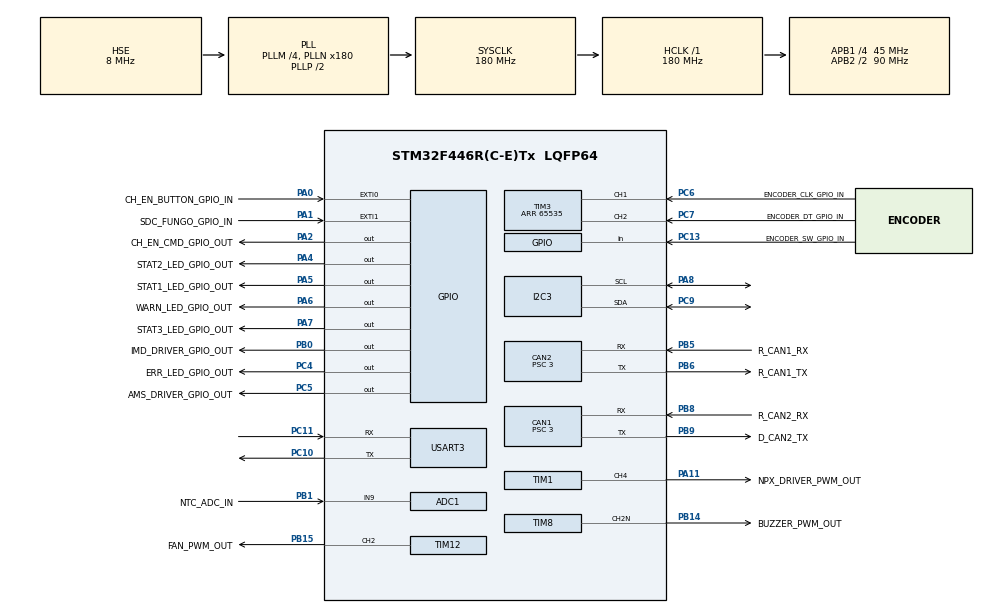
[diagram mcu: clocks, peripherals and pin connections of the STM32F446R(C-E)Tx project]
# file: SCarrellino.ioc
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ADC1.Channel-0\#ChannelRegularConversion=ADC_CHANNEL_9
ADC1.DMAContinuousRequests=ENABLE
ADC1.EnableAnalogWatchDog=false
ADC1.ExternalTrigConv=ADC_EXTERNALTRIGCONV_T4_CC4
ADC1.NbrOfConversion=1
ADC1.NbrOfConversionFlag=1
ADC1.Rank-0\#ChannelRegularConversion=1
ADC1.SamplingTime-0\#ChannelRegularConversion=ADC_SAMPLETIME_3CYCLES
ADC1.master=1
CAN1.ABOM=ENABLE
CAN1.AWUM=ENABLE
CAN1.BS1=CAN_BS1_12TQ
CAN1.BS2=CAN_BS2_2TQ
CAN1.CalculateBaudRate=1000000
CAN1.CalculateTimeBit=1000
CAN1.CalculateTimeQuantum=66.66666666666666
CAN1.Mode=CAN_MODE_NORMAL
CAN1.NART=DISABLE
CAN1.Prescaler=3
CAN2.ABOM=ENABLE
CAN2.AWUM=ENABLE
CAN2.BS1=CAN_BS1_12TQ
CAN2.BS2=CAN_BS2_2TQ
CAN2.CalculateBaudRate=1000000
CAN2.CalculateTimeBit=1000
CAN2.CalculateTimeQuantum=66.66666666666666
CAN2.Mode=CAN_MODE_NORMAL
CAN2.NART=DISABLE
CAN2.Prescaler=3
Dma.ADC1.0.Direction=DMA_PERIPH_TO_MEMORY
Dma.ADC1.0.FIFOMode=DMA_FIFOMODE_DISABLE
Dma.ADC1.0.Instance=DMA2_Stream0
Dma.ADC1.0.MemDataAlignment=DMA_MDATAALIGN_HALFWORD
Dma.ADC1.0.MemInc=DMA_MINC_ENABLE
Dma.ADC1.0.Mode=DMA_CIRCULAR
Dma.ADC1.0.PeriphDataAlignment=DMA_PDATAALIGN_HALFWORD
Dma.ADC1.0.PeriphInc=DMA_PINC_DISABLE
Dma.ADC1.0.Priority=DMA_PRIORITY_LOW
Dma.Request0=ADC1
I2C3.I2C_Mode=I2C_Standard
Mcu.Family=STM32F4
Mcu.Name=STM32F446R(C-E)Tx
Mcu.Package=LQFP64
Mcu.UserConstants=adc_timer_value,500
NVIC.ADC_IRQn=true\:3\:0\:true\:false\:true\:true\:true\:true
NVIC.CAN1_RX0_IRQn=true\:1\:0\:true\:false\:true\:true\:true\:true
NVIC.CAN1_RX1_IRQn=true\:1\:0\:true\:false\:true\:true\:true\:true
NVIC.CAN1_SCE_IRQn=true\:1\:0\:true\:false\:true\:true\:true\:true
NVIC.CAN2_RX0_IRQn=true\:1\:0\:true\:false\:true\:true\:true\:true
NVIC.CAN2_RX1_IRQn=true\:1\:0\:true\:false\:true\:true\:true\:true
NVIC.CAN2_SCE_IRQn=true\:1\:0\:true\:false\:true\:true\:true\:true
NVIC.DMA2_Stream0_IRQn=true\:0\:0\:false\:false\:true\:false\:true\:true
NVIC.EXTI0_IRQn=true\:0\:0\:false\:false\:true\:true\:true\:true
NVIC.EXTI1_IRQn=true\:0\:0\:false\:false\:true\:true\:true\:true
NVIC.I2C3_ER_IRQn=true\:1\:0\:true\:false\:true\:true\:true\:true
NVIC.PriorityGroup=NVIC_PRIORITYGROUP_4
NVIC.TIM1_BRK_TIM9_IRQn=true\:3\:0\:true\:false\:true\:true\:true\:true
NVIC.TIM1_UP_TIM10_IRQn=true\:3\:0\:true\:false\:true\:true\:true\:true
NVIC.TIM2_IRQn=true\:0\:0\:false\:false\:true\:true\:true\:true
NVIC.TIM3_IRQn=true\:2\:0\:true\:false\:true\:true\:true\:true
NVIC.TIM4_IRQn=true\:0\:0\:false\:false\:true\:true\:true\:true
NVIC.TIM6_DAC_IRQn=true\:2\:0\:true\:false\:true\:true\:true\:true
NVIC.TIM7_IRQn=true\:0\:0\:false\:false\:true\:true\:true\:true
NVIC.TIM8_BRK_TIM12_IRQn=true\:0\:0\:false\:false\:true\:true\:true\:true
NVIC.TIM8_CC_IRQn=true\:0\:0\:false\:false\:true\:true\:true\:true
NVIC.TIM8_TRG_COM_TIM14_IRQn=true\:0\:0\:false\:false\:true\:true\:true\:true
NVIC.TIM8_UP_TIM13_IRQn=true\:0\:0\:false\:false\:true\:true\:true\:true
PA0-WKUP.GPIO_Label=CH_EN_BUTTON_GPIO_IN
PA0-WKUP.GPIO_ModeDefaultEXTI=GPIO_MODE_IT_RISING_FALLING
PA0-WKUP.Signal=GPXTI0
PA1.GPIO_Label=SDC_FUNGO_GPIO_IN
PA1.GPIO_ModeDefaultEXTI=GPIO_MODE_IT_FALLING
PA1.Signal=GPXTI1
PA11.GPIO_Label=NPX_DRIVER_PWM_OUT
PA11.Signal=S_TIM1_CH4
PA13.Mode=JTAG_4_pins
PA13.Signal=SYS_JTMS-SWDIO
PA14.Mode=JTAG_4_pins
PA14.Signal=SYS_JTCK-SWCLK
PA15.Mode=JTAG_4_pins
PA15.Signal=SYS_JTDI
PA2.GPIO_Label=CH_EN_CMD_GPIO_OUT
PA2.PinState=GPIO_PIN_SET
PA2.Signal=GPIO_Output
PA4.GPIO_Label=STAT2_LED_GPIO_OUT
PA4.Signal=GPIO_Output
PA5.GPIO_Label=STAT1_LED_GPIO_OUT
PA5.Signal=GPIO_Output
PA6.GPIO_Label=WARN_LED_GPIO_OUT
PA6.Signal=GPIO_Output
PA7.GPIO_Label=STAT3_LED_GPIO_OUT
PA7.Signal=GPIO_Output
PA8.Mode=I2C
PA8.Signal=I2C3_SCL
PB0.GPIO_Label=IMD_DRIVER_GPIO_OUT
PB0.Signal=GPIO_Output
PB1.GPIO_Label=NTC_ADC_IN
PB1.Signal=ADCx_IN9
PB14.GPIO_Label=BUZZER_PWM_OUT
PB14.Mode=PWM Generation2 CH2N
PB14.Signal=TIM8_CH2N
PB15.GPIO_Label=FAN_PWM_OUT
PB15.Signal=S_TIM12_CH2
PB3.Mode=JTAG_4_pins
PB3.Signal=SYS_JTDO-SWO
PB5.GPIO_Label=R_CAN1_RX
PB5.GPIO_PuPd=GPIO_PULLUP
PB5.Mode=CAN_Activate
PB5.Signal=CAN2_RX
PB6.GPIO_Label=R_CAN1_TX
PB6.Mode=CAN_Activate
PB6.Signal=CAN2_TX
PB8.GPIO_Label=R_CAN2_RX
PB8.GPIO_PuPd=GPIO_PULLUP
PB8.Mode=CAN_Activate
PB8.Signal=CAN1_RX
PB9.GPIO_Label=D_CAN2_TX
PB9.GPIO_PuPd=GPIO_NOPULL
PB9.Mode=CAN_Activate
PB9.Signal=CAN1_TX
PC10.Mode=Asynchronous
PC10.Signal=USART3_TX
PC11.Mode=Asynchronous
PC11.Signal=USART3_RX
PC13.GPIO_Label=ENCODER_SW_GPIO_IN
PC13.Signal=GPIO_Input
PC4.GPIO_Label=ERR_LED_GPIO_OUT
PC4.Signal=GPIO_Output
PC5.GPIO_Label=AMS_DRIVER_GPIO_OUT
PC5.Signal=GPIO_Output
PC6.GPIO_Label=ENCODER_CLK_GPIO_IN
PC6.Signal=S_TIM3_CH1
PC7.GPIO_Label=ENCODER_DT_GPIO_IN
PC7.Signal=S_TIM3_CH2
PC9.Mode=I2C
PC9.Signal=I2C3_SDA
PH0-OSC_IN.Mode=HSE-External-Oscillator
PH0-OSC_IN.Signal=RCC_OSC_IN
PH1-OSC_OUT.Mode=HSE-External-Oscillator
PH1-OSC_OUT.Signal=RCC_OSC_OUT
ProjectManager.HeapSize=0x200
ProjectManager.StackSize=0x400
ProjectManager.TargetToolchain=Makefile
RCC.AHBFreq_Value=180000000
RCC.APB1CLKDivider=RCC_HCLK_DIV4
RCC.APB1Freq_Value=45000000
RCC.APB1TimFreq_Value=90000000
RCC.APB2CLKDivider=RCC_HCLK_DIV2
RCC.APB2Freq_Value=90000000
RCC.APB2TimFreq_Value=180000000
RCC.CortexFreq_Value=180000000
RCC.HCLKFreq_Value=180000000
RCC.HSE_VALUE=8000000
RCC.PLLM=4
RCC.PLLN=180
RCC.PLLSourceVirtual=RCC_PLLSOURCE_HSE
RCC.SYSCLKFreq_VALUE=180000000
RCC.SYSCLKSource=RCC_SYSCLKSOURCE_PLLCLK
RCC.USBFreq_Value=180000000
RCC.VCOOutputFreq_Value=360000000
SH.ADCx_IN9.0=ADC1_IN9,IN9
SH.S_TIM12_CH2.0=TIM12_CH2,PWM Generation2 CH2
SH.S_TIM1_CH4.0=TIM1_CH4,PWM Generation4 CH4
SH.S_TIM3_CH1.0=TIM3_CH1,Encoder_Interface
SH.S_TIM3_CH2.0=TIM3_CH2,Encoder_Interface
TIM1.Channel-PWM\ Generation4\ CH4=TIM_CHANNEL_4
TIM12.Channel-PWM\ Generation2\ CH2=TIM_CHANNEL_2
TIM12.ClockDivision=TIM_CLOCKDIVISION_DIV1
TIM12.OC2Preload_PWM=DISABLE
TIM12.Prescaler=0
TIM12.Pulse-PWM\ Generation2\ CH2=0
TIM2.Channel-Output\ Compare3\ No\ Output=TIM_CHANNEL_3
TIM2.ClockDivision=TIM_CLOCKDIVISION_DIV4
TIM2.OCMode_3=TIM_OCMODE_TOGGLE
TIM2.Period=65535
TIM2.Prescaler=18000
TIM2.Pulse-Output\ Compare3\ No\ Output=2
TIM2.TIM_MasterOutputTrigger=TIM_TRGO_OC3REF
TIM3.EncoderMode=TIM_ENCODERMODE_TI12
TIM3.IC1Polarity=TIM_ICPOLARITY_FALLING
TIM3.IC2Polarity=TIM_ICPOLARITY_FALLING
TIM3.Period=65535
TIM4.AutoReloadPreload=TIM_AUTORELOAD_PRELOAD_DISABLE
TIM4.Channel-Output\ Compare4\ No\ Output=TIM_CHANNEL_4
TIM4.OC4Preload=DISABLE
TIM4.OCMode_4=TIM_OCMODE_TOGGLE
TIM4.Period=65535
TIM4.Prescaler=17999
TIM4.Pulse=adc_timer_value
TIM4.Pulse-Output\ Compare4\ No\ Output=adc_timer_value
TIM4.TIM_MasterOutputTrigger=TIM_TRGO_OC4REF
TIM4.TIM_MasterSlaveMode=TIM_MASTERSLAVEMODE_DISABLE
TIM6.Period=100
TIM6.Prescaler=9000-1
TIM6.TIM_MasterOutputTrigger=TIM_TRGO_UPDATE
TIM7.Period=10000
TIM7.Prescaler=9000-1
TIM7.TIM_MasterOutputTrigger=TIM_TRGO_UPDATE
TIM8.Channel-PWM\ Generation2\ CH2N=TIM_CHANNEL_2
TIM8.ClockDivision=TIM_CLOCKDIVISION_DIV1
TIM8.OC2Preload_PWM=DISABLE
TIM8.OCNPolarity_2=TIM_OCNPOLARITY_LOW
TIM8.Period=499
TIM8.Prescaler=89
TIM8.Pulse-PWM\ Generation2\ CH2N=250
TIM8.TIM_MasterOutputTrigger=TIM_TRGO_RESET
USART3.VirtualMode=VM_ASYNC
VP_TIM12_VS_ClockSourceINT.Mode=Internal
VP_TIM1_VS_ClockSourceINT.Mode=Internal
VP_TIM2_VS_ClockSourceINT.Mode=Internal
VP_TIM2_VS_no_output3.Mode=Output Compare3 No Output
VP_TIM4_VS_ClockSourceINT.Mode=Internal
VP_TIM4_VS_no_output4.Mode=Output Compare4 No Output
VP_TIM6_VS_ClockSourceINT.Mode=Enable_Timer
VP_TIM7_VS_ClockSourceINT.Mode=Enable_Timer
VP_TIM8_VS_ClockSourceINT.Mode=Internal
VP_TIM9_VS_ClockSourceINT.Mode=Internal
board=custom

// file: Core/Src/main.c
/* USER CODE BEGIN Header */
/**
 ******************************************************************************
 * @file           : main.c
 * @brief          : Main program body
 ******************************************************************************
 * @attention
 *
 * Copyright (c) 2024 STMicroelectronics.
 * All rights reserved.
 *
 * This software is licensed under terms that can be found in the LICENSE file
 * in the root directory of this software component.
 * If no LICENSE file comes with this software, it is provided AS-IS.
 *
 ******************************************************************************
 */
/* USER CODE END Header */
#include "main.h"
#include "adc.h"
#include "can.h"
#include "dma.h"
#include "i2c.h"
#include "tim.h"
#include "usart.h"
#include "gpio.h"

/* USER CODE BEGIN Includes */
#include "ECU_level_functions.h"
#include "I2C_LCD.h"
#include "SW_Watchdog.h"
#include "can_functions.h"
#include "fsm.h"
#include "hvcb.h"
#include "mcb.h"
#include "ntc.h"
#include "scarrellino_fsm.h"
#include "string.h"
#include "SOC_Evaluation.h"

/* USER CODE END Includes */

/* USER CODE BEGIN PD */

// flag for the LCD library
uint8_t raw = 0u;

FSM_HandleTypeDef hfsm;

uint8_t volatile error_code = 30;

//flag to solve a timer problem
uint8_t first_charge = 1;

//flag to start the watchdog
uint8_t start_can_flag = 0;

//Flag to know if it is the first code run to check if the CmdEn is still on
uint8_t first_run = 1;

double extern SOC, charge_temp, v_min_rx;

/* USER CODE END PD */

void SystemClock_Config(void);

int main(void)
{

  /* MCU Configuration--------------------------------------------------------*/

  /* Reset of all peripherals, Initializes the Flash interface and the Systick. */
  HAL_Init();

  /* Configure the system clock */
  SystemClock_Config();

  /* Initialize all configured peripherals */
  MX_GPIO_Init();
  MX_DMA_Init();
  MX_CAN1_Init();
  MX_TIM4_Init();
  MX_ADC1_Init();
  MX_CAN2_Init();
  MX_I2C3_Init();
  MX_TIM1_Init();
  MX_TIM3_Init();
  MX_TIM8_Init();
  MX_TIM9_Init();
  MX_TIM12_Init();
  MX_TIM2_Init();
  MX_USART3_UART_Init();
  MX_TIM6_Init();
  MX_TIM7_Init();
  /* USER CODE BEGIN 2 */

    I2C_LCD_Init(MyI2C_LCD);

    //HAL_TIM_Encoder_Start_IT(&htim3, TIM_CHANNEL_ALL);

    //timer for adc conversions
    //HAL_TIM_OC_Start_IT(&htim4, TIM_CHANNEL_4);
    //HAL_ADC_Start_DMA(&hadc1, (uint32_t *) &ntc_value, 1);
    //can command TX
    //HAL_TIM_Base_Start_IT(&htim6);

    //fsm
    uint8_t n_events = 0;

    if (FSM_SCARRELLINO_FSM_init(&hfsm, n_events, run_callback_1, transition_callback_1) != STMLIBS_OK) {
        error_code = init_fsm_error;
    }
    if (FSM_start(&hfsm) != STMLIBS_OK) {
        error_code = fsm_start_error;
    }

#ifdef Watchdog
    can_WD_set();
    can_WD_start();
#endif

  /* USER CODE END 2 */

  /* Infinite loop */
  /* USER CODE BEGIN WHILE */
    while (1) {

        can_rx_routine();
        can_tx_routine();
#ifdef SOC_evaluation
        SOC_Evaluation(&v_min_rx, &SOC);
#endif
#ifdef Display
        display_routine();
#endif
        IMD_AMS_error_handler();
        buzzer_routine();
        FSM_routine(&hfsm);
        TSAC_FAN_routine(charge_temp);

#ifdef Watchdog

        if (start_can_flag == 1) {
            if (SW_Watchdog_routine() != HAL_OK) {
                extern double imd_err_is_active, ams_err_is_active;
                uint8_t volatile extern index_error[number_of_struct];

                error_code = watch_dog_error;

                if (index_error[5] == true) {
                    imd_err_is_active = 1;
                    ams_err_is_active = 1;
                }
            }
        }
#endif

    /* USER CODE END WHILE */

    }
}

void SystemClock_Config(void)
{
  RCC_OscInitTypeDef RCC_OscInitStruct = {0};
  RCC_ClkInitTypeDef RCC_ClkInitStruct = {0};

  /** Configure the main internal regulator output voltage
  */
  __HAL_RCC_PWR_CLK_ENABLE();
  __HAL_PWR_VOLTAGESCALING_CONFIG(PWR_REGULATOR_VOLTAGE_SCALE1);

  /** Initializes the RCC Oscillators according to the specified parameters
  * in the RCC_OscInitTypeDef structure.
  */
  RCC_OscInitStruct.OscillatorType = RCC_OSCILLATORTYPE_HSE;
  RCC_OscInitStruct.HSEState = RCC_HSE_ON;
  RCC_OscInitStruct.PLL.PLLState = RCC_PLL_ON;
  RCC_OscInitStruct.PLL.PLLSource = RCC_PLLSOURCE_HSE;
  RCC_OscInitStruct.PLL.PLLM = 4;
  RCC_OscInitStruct.PLL.PLLN = 180;
  RCC_OscInitStruct.PLL.PLLP = RCC_PLLP_DIV2;
  RCC_OscInitStruct.PLL.PLLQ = 2;
  RCC_OscInitStruct.PLL.PLLR = 2;
  if (HAL_RCC_OscConfig(&RCC_OscInitStruct) != HAL_OK)
  {
    Error_Handler();
  }

  /** Activate the Over-Drive mode
  */
  if (HAL_PWREx_EnableOverDrive() != HAL_OK)
  {
    Error_Handler();
  }

  /** Initializes the CPU, AHB and APB buses clocks
  */
  RCC_ClkInitStruct.ClockType = RCC_CLOCKTYPE_HCLK|RCC_CLOCKTYPE_SYSCLK
                              |RCC_CLOCKTYPE_PCLK1|RCC_CLOCKTYPE_PCLK2;
  RCC_ClkInitStruct.SYSCLKSource = RCC_SYSCLKSOURCE_PLLCLK;
  RCC_ClkInitStruct.AHBCLKDivider = RCC_SYSCLK_DIV1;
  RCC_ClkInitStruct.APB1CLKDivider = RCC_HCLK_DIV4;
  RCC_ClkInitStruct.APB2CLKDivider = RCC_HCLK_DIV2;

  if (HAL_RCC_ClockConfig(&RCC_ClkInitStruct, FLASH_LATENCY_5) != HAL_OK)
  {
    Error_Handler();
  }
}

void Error_Handler(void)
{
  /* USER CODE BEGIN Error_Handler_Debug */
    /* User can add his own implementation to report the HAL error return state */

    AIR_CAN_Cmd_Off();
    __disable_irq();

    //STOP CHARGE

    ChargeENcmdOFF();
    ChargeBlueLedOff();
    WarnLedOn();
    TSAC_fan_off();

    //display error
    error_display();
    buzzer_12khz();

#ifndef silence
    buzzer_on();
#endif

    __enable_irq();
    HAL_Delay(2000);
    buzzer_off();
    __disable_irq();

    while (1) {
    }
  /* USER CODE END Error_Handler_Debug */
}

#ifdef  USE_FULL_ASSERT
/**
  * @brief  Reports the name of the source file and the source line number
  *         where the assert_param error has occurred.
  * @param  file: pointer to the source file name
  * @param  line: assert_param error line source number
  * @retval None
  */
void assert_failed(uint8_t *file, uint32_t line)
{
  /* USER CODE BEGIN 6 */
    /* User can add his own implementation to report the file name and line number,
       eg: printf("Wrong parameters value: file %s on line %d\r\n", file, line)
  /* USER CODE END 6 */
}
#endif /* USE_FULL_ASSERT */
